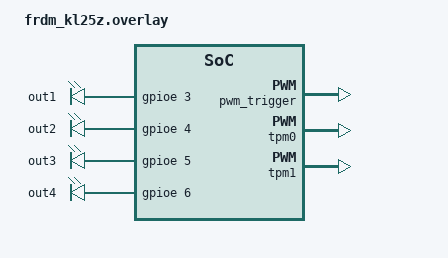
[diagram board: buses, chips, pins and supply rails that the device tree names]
#include <zephyr/dt-bindings/pwm/pwm.h>
#include <zephyr/dt-bindings/clock/kinetis_sim.h>
#include <zephyr/dt-bindings/gpio/gpio.h>

#include <nxp/kinetis/MKL25Z128VLK4-pinctrl.h>

&gpioe {
    status = "okay";
};

&pinctrl {
    tpm0_default: tpm0_default {
        group0 {
            pinmux = <TPM0_CH0_PTD0>;
            drive-strength = "low";
            slew-rate = "slow";
        };
    };
    tpm1_default: tpm1_default {
        group0 {
            pinmux = <TPM1_CH0_PTE20>;
            drive-strength = "low";
            slew-rate = "slow";
        };
    };
};

/ {
    aliases {
        pwm-trigger = &pwm_trigger;
    
        tpm1 = &tpm1;
        out1 = &out1;
        out2 = &out2;
        out3 = &out3;
        out4 = &out4;
    };


    pins_control {
        compatible = "gpio-leds";

        out1: pin_out_1 {
            gpios = <&gpioe 3 GPIO_ACTIVE_HIGH>;
        
        };

        out2: pin_out_2 {
            gpios = <&gpioe 4 GPIO_ACTIVE_HIGH>;
        };

        out3: pin_out_3 {
            gpios = <&gpioe 5 GPIO_ACTIVE_HIGH>;
        };

        out4: pin_out_4 {
            gpios = <&gpioe 6 GPIO_ACTIVE_HIGH>;
        };
        
    };

    pwmtriggers {
        compatible = "simple-bus";

        pwm_trigger: pwm_trigger {
            compatible = "my,pwm-trigger";
            pwms = <&tpm0 0 PWM_MSEC(60) PWM_POLARITY_NORMAL>;
        };
    };

    soc {
        tpm0: tpm@40038000 {
            compatible = "nxp,kinetis-tpm";
            reg = <0x40038000 0x1000>;
            interrupts = <17 0>; 
            prescaler = <64>;
            
            clocks = <&sim KINETIS_SIM_BUS_CLK 0x103C 24>;
            
            pinctrl-0 = <&tpm0_default>;
            pinctrl-names = "default";
            #pwm-cells = <3>;
            status = "okay";
        };
        tpm1: tpm@40039000 {
            compatible = "nxp,kinetis-tpm";
            reg = <0x40039000 0x1000>;
            interrupts = <18 1>; 
            prescaler = <8>;
            
            clocks = <&sim KINETIS_SIM_BUS_CLK 0x103C 25>;
            
            pinctrl-0 = <&tpm1_default>;
            pinctrl-names = "default";
            #pwm-cells = <3>;
            status = "okay";
        };
    };
};
